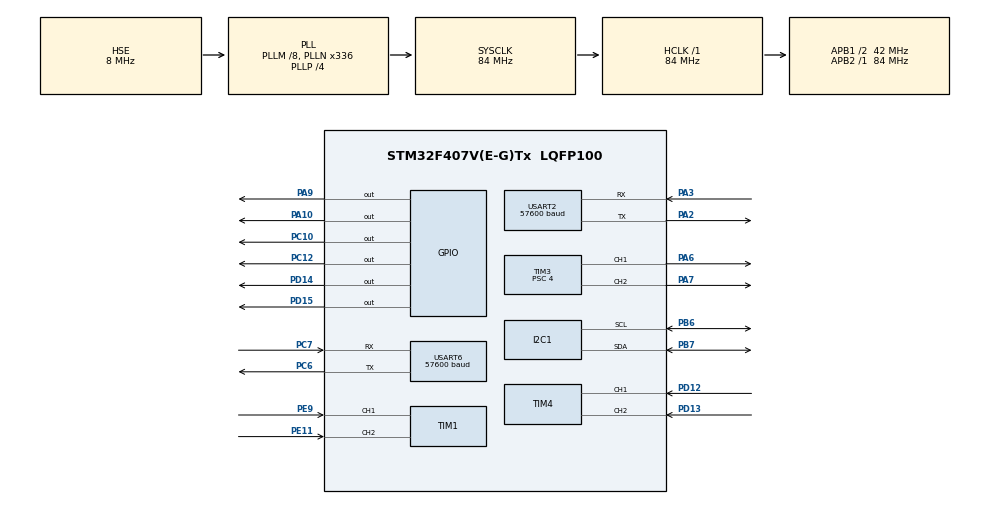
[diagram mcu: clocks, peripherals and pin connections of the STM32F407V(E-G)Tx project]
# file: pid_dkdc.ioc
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Dma.Request0=USART6_RX
Dma.Request1=USART6_TX
Dma.USART6_RX.0.Direction=DMA_PERIPH_TO_MEMORY
Dma.USART6_RX.0.FIFOMode=DMA_FIFOMODE_DISABLE
Dma.USART6_RX.0.Instance=DMA2_Stream1
Dma.USART6_RX.0.MemDataAlignment=DMA_MDATAALIGN_BYTE
Dma.USART6_RX.0.MemInc=DMA_MINC_ENABLE
Dma.USART6_RX.0.Mode=DMA_CIRCULAR
Dma.USART6_RX.0.PeriphDataAlignment=DMA_PDATAALIGN_BYTE
Dma.USART6_RX.0.PeriphInc=DMA_PINC_DISABLE
Dma.USART6_RX.0.Priority=DMA_PRIORITY_LOW
Dma.USART6_TX.1.Direction=DMA_MEMORY_TO_PERIPH
Dma.USART6_TX.1.FIFOMode=DMA_FIFOMODE_DISABLE
Dma.USART6_TX.1.Instance=DMA2_Stream6
Dma.USART6_TX.1.MemDataAlignment=DMA_MDATAALIGN_BYTE
Dma.USART6_TX.1.MemInc=DMA_MINC_ENABLE
Dma.USART6_TX.1.Mode=DMA_NORMAL
Dma.USART6_TX.1.PeriphDataAlignment=DMA_PDATAALIGN_BYTE
Dma.USART6_TX.1.PeriphInc=DMA_PINC_DISABLE
Dma.USART6_TX.1.Priority=DMA_PRIORITY_LOW
I2C1.I2C_Mode=I2C_Fast
Mcu.Family=STM32F4
Mcu.Name=STM32F407V(E-G)Tx
Mcu.Package=LQFP100
NVIC.DMA2_Stream1_IRQn=true\:0\:0\:false\:false\:true\:false\:true\:true
NVIC.DMA2_Stream6_IRQn=true\:0\:0\:false\:false\:true\:false\:true\:true
NVIC.PriorityGroup=NVIC_PRIORITYGROUP_4
NVIC.TIM2_IRQn=true\:1\:0\:true\:false\:true\:true\:true\:true
NVIC.USART6_IRQn=true\:0\:0\:false\:false\:true\:true\:true\:true
PA10.Signal=GPIO_Output
PA13.Mode=Serial_Wire
PA13.Signal=SYS_JTMS-SWDIO
PA14.Mode=Serial_Wire
PA14.Signal=SYS_JTCK-SWCLK
PA2.Mode=Asynchronous
PA2.Signal=USART2_TX
PA3.Mode=Asynchronous
PA3.Signal=USART2_RX
PA6.Signal=S_TIM3_CH1
PA7.Signal=S_TIM3_CH2
PA9.Signal=GPIO_Output
PB6.GPIO_Pu=GPIO_PULLUP
PB6.Mode=I2C
PB6.Signal=I2C1_SCL
PB7.GPIO_Pu=GPIO_PULLUP
PB7.Mode=I2C
PB7.Signal=I2C1_SDA
PC10.Signal=GPIO_Output
PC12.Signal=GPIO_Output
PC6.Mode=Asynchronous
PC6.Signal=USART6_TX
PC7.Mode=Asynchronous
PC7.Signal=USART6_RX
PD12.Signal=S_TIM4_CH1
PD13.Signal=S_TIM4_CH2
PD14.Signal=GPIO_Output
PD15.Signal=GPIO_Output
PE11.Signal=S_TIM1_CH2
PE9.Signal=S_TIM1_CH1
PH0-OSC_IN.Mode=HSE-External-Oscillator
PH0-OSC_IN.Signal=RCC_OSC_IN
PH1-OSC_OUT.Mode=HSE-External-Oscillator
PH1-OSC_OUT.Signal=RCC_OSC_OUT
ProjectManager.HeapSize=0x200
ProjectManager.StackSize=0x400
ProjectManager.TargetToolchain=STM32CubeIDE
RCC.48MHZClocksFreq_Value=84000000
RCC.AHBFreq_Value=84000000
RCC.APB1CLKDivider=RCC_HCLK_DIV2
RCC.APB1Freq_Value=42000000
RCC.APB1TimFreq_Value=84000000
RCC.APB2Freq_Value=84000000
RCC.APB2TimFreq_Value=84000000
RCC.CortexFreq_Value=84000000
RCC.HCLKFreq_Value=84000000
RCC.HSE_VALUE=8000000
RCC.HSI_VALUE=16000000
RCC.LSE_VALUE=32768
RCC.PLLM=8
RCC.PLLN=336
RCC.PLLP=RCC_PLLP_DIV4
RCC.PLLSourceVirtual=RCC_PLLSOURCE_HSE
RCC.SYSCLKFreq_VALUE=84000000
RCC.SYSCLKSource=RCC_SYSCLKSOURCE_PLLCLK
RCC.VCOOutputFreq_Value=336000000
SH.S_TIM1_CH1.0=TIM1_CH1,Encoder_Interface
SH.S_TIM1_CH2.0=TIM1_CH2,Encoder_Interface
SH.S_TIM3_CH1.0=TIM3_CH1,PWM Generation1 CH1
SH.S_TIM3_CH2.0=TIM3_CH2,PWM Generation2 CH2
SH.S_TIM4_CH1.0=TIM4_CH1,Encoder_Interface
SH.S_TIM4_CH2.0=TIM4_CH2,Encoder_Interface
TIM1.EncoderMode=TIM_ENCODERMODE_TI12
TIM2.Period=499
TIM2.Prescaler=8399
TIM3.Channel-PWM\ Generation1\ CH1=TIM_CHANNEL_1
TIM3.Channel-PWM\ Generation2\ CH2=TIM_CHANNEL_2
TIM3.Period=839
TIM3.Prescaler=4
TIM4.EncoderMode=TIM_ENCODERMODE_TI12
USART2.BaudRate=57600
USART2.VirtualMode=VM_ASYNC
USART6.BaudRate=57600
USART6.VirtualMode=VM_ASYNC
VP_TIM2_VS_ClockSourceINT.Mode=Internal
board=custom

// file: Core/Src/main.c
/* USER CODE BEGIN Header */
/**
  ******************************************************************************
  * @file           : main.c
  * @brief          : Main program body
  ******************************************************************************
  * @attention
  *
  * Copyright (c) 2024 STMicroelectronics.
  * All rights reserved.
  *
  * This software is licensed under terms that can be found in the LICENSE file
  * in the root directory of this software component.
  * If no LICENSE file comes with this software, it is provided AS-IS.
  *
  ******************************************************************************
  */
/* USER CODE END Header */
#include "main.h"

/* USER CODE BEGIN Includes */
#include "mainpp.h"
#include "data_struct.h"
#include "imu_data_struct.h"
#include <math.h>
#include "stm32f4xx_hal.h"
#include "defines.h"
#include "tm_stm32_mpu6050.h"
#include <stdio.h>
/* USER CODE END Includes */

/* USER CODE BEGIN PTD */
float   temperature=0;
TM_MPU6050_t MPU6050_Sensor;
TM_MPU6050_t MPU6050_Data0;
char     data[120];

// rotation angle of the sensor
unsigned long last_read_time;
float         last_x_angle;  // These are the filtered angles
float         last_y_angle;
float         last_z_angle;
float         last_gyro_x_angle;  // Store the gyro angles to compare drift
float         last_gyro_y_angle;
float         last_gyro_z_angle;
float         angle_z;

void set_last_read_angle_data(unsigned long time, float x, float y, float z, float x_gyro, float y_gyro, float z_gyro) {
  last_read_time = time;
  last_x_angle = x;
  last_y_angle = y;
  last_z_angle = z;
  last_gyro_x_angle = x_gyro;
  last_gyro_y_angle = y_gyro;
  last_gyro_z_angle = z_gyro;
}

unsigned long get_last_time() {return last_read_time;}
float get_last_x_angle() {return last_x_angle;}
float get_last_y_angle() {return last_y_angle;}
float get_last_z_angle() {return last_z_angle;}
float get_last_gyro_x_angle() {return last_gyro_x_angle;}
float get_last_gyro_y_angle() {return last_gyro_y_angle;}
float get_last_gyro_z_angle() {return last_gyro_z_angle;}

float    base_x_gyro = 0;
float    base_y_gyro = 0;
float    base_z_gyro = 0;
float    base_x_accel = 0;
float    base_y_accel = 0;
float    base_z_accel = 0;

 float gyro_angle_z=0;

 void get_mpudata_average() {

   int read_count = 20;
   // Discard the first reading (don't know if this is needed or
   // not, however, it won't hurt.)
   // Read and average the raw values
   for (int i = 0; i < read_count; i++) {
     TM_MPU6050_ReadAll(&MPU6050_Sensor);
     base_x_gyro += MPU6050_Sensor.Gyroscope_X;
     base_y_gyro += MPU6050_Sensor.Gyroscope_Y;
     base_z_gyro += MPU6050_Sensor.Gyroscope_Z;
     base_x_accel +=  MPU6050_Sensor.Accelerometer_X;
     base_y_accel +=  MPU6050_Sensor.Accelerometer_Y;
     base_z_accel +=  MPU6050_Sensor.Accelerometer_Z;
   }

     base_x_gyro /= read_count;
     base_y_gyro /= read_count;
     base_z_gyro /= read_count;
     base_x_accel /= read_count;
     base_y_accel /= read_count;
     base_z_accel /= read_count;
 }

// This global variable tells us how to scale gyroscope data
float    GYRO_FACTOR=32768.0/250.0;

unsigned long t_now=0,t_last=0;
float dt=0;
/* USER CODE END PTD */

I2C_HandleTypeDef hi2c1;

TIM_HandleTypeDef htim1;
TIM_HandleTypeDef htim2;
TIM_HandleTypeDef htim3;
TIM_HandleTypeDef htim4;

UART_HandleTypeDef huart2;
UART_HandleTypeDef huart6;
DMA_HandleTypeDef hdma_usart6_rx;
DMA_HandleTypeDef hdma_usart6_tx;

void SystemClock_Config(void);
static void MX_GPIO_Init(void);
static void MX_DMA_Init(void);
static void MX_TIM1_Init(void);
static void MX_TIM2_Init(void);
static void MX_TIM3_Init(void);
static void MX_TIM4_Init(void);
static void MX_USART6_UART_Init(void);
static void MX_I2C1_Init(void);
static void MX_USART2_UART_Init(void);
/* USER CODE BEGIN PFP */

//Right
float PPR1 = 998;//=920x4/ 1070;pulse per revolution
const float Ts = 0.05;
float encoder_cnt1=0, pre_enc1=0;
float delta_enc1 = 0;

float vR_motor=0;
float wR_motor=0;
float vR_set=0, vR_real=0;
float v_robot=0;
float w_robot=0;

float duty_cycle1=0, R_duty1=0;
float Error1=0, pre_Error1=0, pre_pre_Error1=0;
float Kp1=50;//0.9, 50
float Ki1=1300;//30, 850
float Kd1=0.025;//0.003
float P_part1=0, I_part1=0, D_part1=0;
float udk1=0, pwm_out1=0, pre_pwm_out1=0,state1 = 0;
const float wheelRadius= 0.072;//0.0725
const float wheelBase=0.46;
const float pi=3.14159265359;
float angle_y;
float angle_x;
float angle_z=0;
const float RADIANS_TO_DEGREES = 180/pi; //180/3.14159
//Left
float PPR2 = 998;//=920x4/ 1070;pulse per revolution

float encoder_cnt2=0, pre_enc2=0;
float delta_enc2 = 0;

float vL_motor=0;
float wL_motor=0;
float  vL_set=0, vL_real=0;

float setSpeed2=0;
float duty_cycle2=0, duty2=0;
float Error2=0, pre_Error2=0, pre_pre_Error2=0;
float Kp2=50;//0.9
float Ki2=1300;//30
float Kd2=0.025;//0.003
float P_part2=0, I_part2=0, D_part2=0;
float udk2=0, pwm_out2=0, pre_pwm_out2=0,state2 = 0;

struct vel_data vel_data_rx;
struct vel_data vel_data_tx;

float current_x, current_y, current_theta=0;
float pre_x=0, pre_y=0, pre_theta=0;
float delta_theta=0;
struct vel_data vel_data_rx;
struct vel_data vel_data_tx;
/* USER CODE END PFP */

int main(void)
{

  /* MCU Configuration--------------------------------------------------------*/

  /* Reset of all peripherals, Initializes the Flash interface and the Systick. */
  HAL_Init();

  /* Configure the system clock */
  SystemClock_Config();

  /* Initialize all configured peripherals */
  MX_GPIO_Init();
  MX_DMA_Init();
  MX_TIM1_Init();
  MX_TIM2_Init();
  MX_TIM3_Init();
  MX_TIM4_Init();
  MX_USART6_UART_Init();
  MX_I2C1_Init();
  MX_USART2_UART_Init();
  /* USER CODE BEGIN 2 */
   HAL_TIM_Base_Start_IT(&htim2);
   HAL_TIM_Encoder_Start(&htim1, TIM_CHANNEL_1|TIM_CHANNEL_2);
   HAL_TIM_Encoder_Start(&htim4, TIM_CHANNEL_1|TIM_CHANNEL_2);
   HAL_TIM_PWM_Start(&htim3, TIM_CHANNEL_1);
   HAL_TIM_PWM_Start(&htim3, TIM_CHANNEL_2);

   setup();
   while(TM_MPU6050_Init(&MPU6050_Sensor, TM_MPU6050_Device_0, TM_MPU6050_Accelerometer_8G, TM_MPU6050_Gyroscope_250s) != TM_MPU6050_Result_Ok)
        	 {

        	 }

           //GYRO_FACTOR = 131.0;
        	 //const float RADIANS_TO_DEGREES = 57.2958; //180/3.14159

        	 get_mpudata_average();

        	 set_last_read_angle_data(0, 0, 0, 0, 0, 0, 0);

     //	HAL_Delay(5000);
  /* USER CODE END 2 */

  /* Infinite loop */
  while (1)
  {

    /* USER CODE BEGIN 3 */
	  //	  HAL_GPIO_WritePin(GPIOA, GPIO_PIN_9, GPIO_PIN_RESET);
	  //	  		HAL_GPIO_WritePin(GPIOA, GPIO_PIN_10, GPIO_PIN_SET);
	  HAL_GPIO_TogglePin(GPIOD, GPIO_PIN_15);
	  	  loop();

	  	  //HAL_Delay(200);

//	  	  		t_last = HAL_GetTick();
//	  	  		/* Read all data from sensor 1 */
//	  	  		TM_MPU6050_ReadAll(&MPU6050_Sensor);
//	  	  		t_now = HAL_GetTick();
//
//	  	  		// Remove offsets and scale gyro data
//	  	  		//        float gyro_x = (MPU6050_Data0.Gyroscope_X - base_x_gyro)/GYRO_FACTOR;
//	  	  		//        float gyro_y = (MPU6050_Data0.Gyroscope_Y - base_y_gyro)/GYRO_FACTOR;
//	  	  		//        float gyro_z = (MPU6050_Data0.Gyroscope_Z - base_z_gyro)/GYRO_FACTOR;
//	  	  		float gyro_x = (MPU6050_Sensor.Gyroscope_X) / GYRO_FACTOR;
//	  	  		float gyro_y = (MPU6050_Sensor.Gyroscope_Y) / GYRO_FACTOR;
//	  	  		float gyro_z = (MPU6050_Sensor.Gyroscope_Z) / GYRO_FACTOR;
//
//	  	  		float accel_x = MPU6050_Sensor.Accelerometer_X; // - base_x_accel;
//	  	  		float accel_y = MPU6050_Sensor.Accelerometer_Y; // - base_y_accel;
//	  	  		float accel_z = MPU6050_Sensor.Accelerometer_Z; // - base_z_accel;
//
//	  	  		float accel_angle_y = atan(
//	  	  				-1 * accel_x / sqrt(pow(accel_y, 2) + pow(accel_z, 2)))
//	  	  				* RADIANS_TO_DEGREES;
//	  	  		float accel_angle_x = atan(
//	  	  				accel_y / sqrt(pow(accel_x, 2) + pow(accel_z, 2)))
//	  	  				* RADIANS_TO_DEGREES;
//	  	  		float accel_angle_z = 0;  //Accelerometer doesn't give z-angle
//
//	  	  		// Compute the (filtered) gyro angles
//	  	  		dt = (t_now - get_last_time()) / 1000.0;
//
//	  	  		float gyro_angle_x = gyro_x * dt + get_last_x_angle();
//	  	  		float gyro_angle_y = gyro_y * dt + get_last_y_angle();
//
//	  	  		int gz_threshold = 2; // gyro z raw data fluctuation threshold value when gyro doesn't move. It is up to your mpu6050. It is just a personal approach.
//	  	  		if (gyro_z < gz_threshold && gyro_z > -gz_threshold) // When gyro stands ignore the gyro z small fluctuations to prevent z angle irregular increments
//	  	  			gyro_z = 0;
//
//	  	  		gyro_angle_z = gyro_z * dt + get_last_z_angle();
//
//	  	  		// Compute the drifting gyro angles
//	  	  		float unfiltered_gyro_angle_x = gyro_x * dt + get_last_gyro_x_angle();
//	  	  		float unfiltered_gyro_angle_y = gyro_y * dt + get_last_gyro_y_angle();
//	  	  		float unfiltered_gyro_angle_z = gyro_z * dt + get_last_gyro_z_angle();
//
//	  	  		// Apply the complementary filter to figure out the change in angle - choice of alpha is
//	  	  		/* estimated now.  Alpha depends on the sampling rate... */
//	  	  		const float alpha = 0.96;
//	  	  		 angle_x = alpha * gyro_angle_x + (1.0 - alpha) * accel_angle_x;
//	  	  		 angle_y = alpha * gyro_angle_y + (1.0 - alpha) * accel_angle_y;
//	  	  		 angle_z = gyro_angle_z;  //Accelerometer doesn't give z-angle
//
//	  	  		/* Update the saved data with the latest values */
//	  	  		set_last_read_angle_data(t_now, angle_x, angle_y, angle_z,
//	  	  				unfiltered_gyro_angle_x, unfiltered_gyro_angle_y,
//	  	  				unfiltered_gyro_angle_z);
//
//	  	  		/* Send the angle values to serial buffer	*/
////	  	  		HAL_UART_Transmit(&huart2, (uint8_t*) data, sprintf(data,
////	  	  						"Angle values\n- X:%3.4f\n- Y:%3.4f\n- Z:%3.4f\nTemperature\n- %3.4f\n\n\n",
////	  	  						angle_x,
////	  	  						angle_y,
////	  	  						angle_z,
////	  	  						MPU6050_Sensor.Temperature),
////	  	  				1000);
//	  	  		imu_data_tx.x=angle_x;
//	  	  		imu_data_tx.y=angle_y;
//	  	  		imu_data_tx.z=angle_z;

  }
  /* USER CODE END 3 */
}

void SystemClock_Config(void)
{
  RCC_OscInitTypeDef RCC_OscInitStruct = {0};
  RCC_ClkInitTypeDef RCC_ClkInitStruct = {0};

  /** Configure the main internal regulator output voltage
  */
  __HAL_RCC_PWR_CLK_ENABLE();
  __HAL_PWR_VOLTAGESCALING_CONFIG(PWR_REGULATOR_VOLTAGE_SCALE1);

  /** Initializes the RCC Oscillators according to the specified parameters
  * in the RCC_OscInitTypeDef structure.
  */
  RCC_OscInitStruct.OscillatorType = RCC_OSCILLATORTYPE_HSE;
  RCC_OscInitStruct.HSEState = RCC_HSE_ON;
  RCC_OscInitStruct.PLL.PLLState = RCC_PLL_ON;
  RCC_OscInitStruct.PLL.PLLSource = RCC_PLLSOURCE_HSE;
  RCC_OscInitStruct.PLL.PLLM = 8;
  RCC_OscInitStruct.PLL.PLLN = 336;
  RCC_OscInitStruct.PLL.PLLP = RCC_PLLP_DIV4;
  RCC_OscInitStruct.PLL.PLLQ = 4;
  if (HAL_RCC_OscConfig(&RCC_OscInitStruct) != HAL_OK)
  {
    Error_Handler();
  }

  /** Initializes the CPU, AHB and APB buses clocks
  */
  RCC_ClkInitStruct.ClockType = RCC_CLOCKTYPE_HCLK|RCC_CLOCKTYPE_SYSCLK
                              |RCC_CLOCKTYPE_PCLK1|RCC_CLOCKTYPE_PCLK2;
  RCC_ClkInitStruct.SYSCLKSource = RCC_SYSCLKSOURCE_PLLCLK;
  RCC_ClkInitStruct.AHBCLKDivider = RCC_SYSCLK_DIV1;
  RCC_ClkInitStruct.APB1CLKDivider = RCC_HCLK_DIV2;
  RCC_ClkInitStruct.APB2CLKDivider = RCC_HCLK_DIV1;

  if (HAL_RCC_ClockConfig(&RCC_ClkInitStruct, FLASH_LATENCY_2) != HAL_OK)
  {
    Error_Handler();
  }
}

static void MX_I2C1_Init(void)
{

  hi2c1.Instance = I2C1;
  hi2c1.Init.ClockSpeed = 400000;
  hi2c1.Init.DutyCycle = I2C_DUTYCYCLE_2;
  hi2c1.Init.OwnAddress1 = 0;
  hi2c1.Init.AddressingMode = I2C_ADDRESSINGMODE_7BIT;
  hi2c1.Init.DualAddressMode = I2C_DUALADDRESS_DISABLE;
  hi2c1.Init.OwnAddress2 = 0;
  hi2c1.Init.GeneralCallMode = I2C_GENERALCALL_DISABLE;
  hi2c1.Init.NoStretchMode = I2C_NOSTRETCH_DISABLE;
  if (HAL_I2C_Init(&hi2c1) != HAL_OK)
  {
    Error_Handler();
  }

}

static void MX_TIM1_Init(void)
{

  TIM_Encoder_InitTypeDef sConfig = {0};
  TIM_MasterConfigTypeDef sMasterConfig = {0};

  htim1.Instance = TIM1;
  htim1.Init.Prescaler = 0;
  htim1.Init.CounterMode = TIM_COUNTERMODE_UP;
  htim1.Init.Period = 65535;
  htim1.Init.ClockDivision = TIM_CLOCKDIVISION_DIV1;
  htim1.Init.RepetitionCounter = 0;
  htim1.Init.AutoReloadPreload = TIM_AUTORELOAD_PRELOAD_DISABLE;
  sConfig.EncoderMode = TIM_ENCODERMODE_TI12;
  sConfig.IC1Polarity = TIM_ICPOLARITY_RISING;
  sConfig.IC1Selection = TIM_ICSELECTION_DIRECTTI;
  sConfig.IC1Prescaler = TIM_ICPSC_DIV1;
  sConfig.IC1Filter = 0;
  sConfig.IC2Polarity = TIM_ICPOLARITY_RISING;
  sConfig.IC2Selection = TIM_ICSELECTION_DIRECTTI;
  sConfig.IC2Prescaler = TIM_ICPSC_DIV1;
  sConfig.IC2Filter = 0;
  if (HAL_TIM_Encoder_Init(&htim1, &sConfig) != HAL_OK)
  {
    Error_Handler();
  }
  sMasterConfig.MasterOutputTrigger = TIM_TRGO_RESET;
  sMasterConfig.MasterSlaveMode = TIM_MASTERSLAVEMODE_DISABLE;
  if (HAL_TIMEx_MasterConfigSynchronization(&htim1, &sMasterConfig) != HAL_OK)
  {
    Error_Handler();
  }

}

static void MX_TIM2_Init(void)
{

  TIM_ClockConfigTypeDef sClockSourceConfig = {0};
  TIM_MasterConfigTypeDef sMasterConfig = {0};

  htim2.Instance = TIM2;
  htim2.Init.Prescaler = 8399;
  htim2.Init.CounterMode = TIM_COUNTERMODE_UP;
  htim2.Init.Period = 499;
  htim2.Init.ClockDivision = TIM_CLOCKDIVISION_DIV1;
  htim2.Init.AutoReloadPreload = TIM_AUTORELOAD_PRELOAD_DISABLE;
  if (HAL_TIM_Base_Init(&htim2) != HAL_OK)
  {
    Error_Handler();
  }
  sClockSourceConfig.ClockSource = TIM_CLOCKSOURCE_INTERNAL;
  if (HAL_TIM_ConfigClockSource(&htim2, &sClockSourceConfig) != HAL_OK)
  {
    Error_Handler();
  }
  sMasterConfig.MasterOutputTrigger = TIM_TRGO_RESET;
  sMasterConfig.MasterSlaveMode = TIM_MASTERSLAVEMODE_DISABLE;
  if (HAL_TIMEx_MasterConfigSynchronization(&htim2, &sMasterConfig) != HAL_OK)
  {
    Error_Handler();
  }

}

static void MX_TIM3_Init(void)
{

  TIM_MasterConfigTypeDef sMasterConfig = {0};
  TIM_OC_InitTypeDef sConfigOC = {0};

  htim3.Instance = TIM3;
  htim3.Init.Prescaler = 4;
  htim3.Init.CounterMode = TIM_COUNTERMODE_UP;
  htim3.Init.Period = 839;
  htim3.Init.ClockDivision = TIM_CLOCKDIVISION_DIV1;
  htim3.Init.AutoReloadPreload = TIM_AUTORELOAD_PRELOAD_DISABLE;
  if (HAL_TIM_PWM_Init(&htim3) != HAL_OK)
  {
    Error_Handler();
  }
  sMasterConfig.MasterOutputTrigger = TIM_TRGO_RESET;
  sMasterConfig.MasterSlaveMode = TIM_MASTERSLAVEMODE_DISABLE;
  if (HAL_TIMEx_MasterConfigSynchronization(&htim3, &sMasterConfig) != HAL_OK)
  {
    Error_Handler();
  }
  sConfigOC.OCMode = TIM_OCMODE_PWM1;
  sConfigOC.Pulse = 0;
  sConfigOC.OCPolarity = TIM_OCPOLARITY_HIGH;
  sConfigOC.OCFastMode = TIM_OCFAST_DISABLE;
  if (HAL_TIM_PWM_ConfigChannel(&htim3, &sConfigOC, TIM_CHANNEL_1) != HAL_OK)
  {
    Error_Handler();
  }
  if (HAL_TIM_PWM_ConfigChannel(&htim3, &sConfigOC, TIM_CHANNEL_2) != HAL_OK)
  {
    Error_Handler();
  }
  HAL_TIM_MspPostInit(&htim3);

}

static void MX_TIM4_Init(void)
{

  TIM_Encoder_InitTypeDef sConfig = {0};
  TIM_MasterConfigTypeDef sMasterConfig = {0};

  htim4.Instance = TIM4;
  htim4.Init.Prescaler = 0;
  htim4.Init.CounterMode = TIM_COUNTERMODE_UP;
  htim4.Init.Period = 65535;
  htim4.Init.ClockDivision = TIM_CLOCKDIVISION_DIV1;
  htim4.Init.AutoReloadPreload = TIM_AUTORELOAD_PRELOAD_DISABLE;
  sConfig.EncoderMode = TIM_ENCODERMODE_TI12;
  sConfig.IC1Polarity = TIM_ICPOLARITY_RISING;
  sConfig.IC1Selection = TIM_ICSELECTION_DIRECTTI;
  sConfig.IC1Prescaler = TIM_ICPSC_DIV1;
  sConfig.IC1Filter = 0;
  sConfig.IC2Polarity = TIM_ICPOLARITY_RISING;
  sConfig.IC2Selection = TIM_ICSELECTION_DIRECTTI;
  sConfig.IC2Prescaler = TIM_ICPSC_DIV1;
  sConfig.IC2Filter = 0;
  if (HAL_TIM_Encoder_Init(&htim4, &sConfig) != HAL_OK)
  {
    Error_Handler();
  }
  sMasterConfig.MasterOutputTrigger = TIM_TRGO_RESET;
  sMasterConfig.MasterSlaveMode = TIM_MASTERSLAVEMODE_DISABLE;
  if (HAL_TIMEx_MasterConfigSynchronization(&htim4, &sMasterConfig) != HAL_OK)
  {
    Error_Handler();
  }

}

static void MX_USART2_UART_Init(void)
{

  huart2.Instance = USART2;
  huart2.Init.BaudRate = 115200;
  huart2.Init.WordLength = UART_WORDLENGTH_8B;
  huart2.Init.StopBits = UART_STOPBITS_1;
  huart2.Init.Parity = UART_PARITY_NONE;
  huart2.Init.Mode = UART_MODE_TX_RX;
  huart2.Init.HwFlowCtl = UART_HWCONTROL_NONE;
  huart2.Init.OverSampling = UART_OVERSAMPLING_16;
  if (HAL_UART_Init(&huart2) != HAL_OK)
  {
    Error_Handler();
  }

}

static void MX_USART6_UART_Init(void)
{

  huart6.Instance = USART6;
  huart6.Init.BaudRate = 115200;
  huart6.Init.WordLength = UART_WORDLENGTH_8B;
  huart6.Init.StopBits = UART_STOPBITS_1;
  huart6.Init.Parity = UART_PARITY_NONE;
  huart6.Init.Mode = UART_MODE_TX_RX;
  huart6.Init.HwFlowCtl = UART_HWCONTROL_NONE;
  huart6.Init.OverSampling = UART_OVERSAMPLING_16;
  if (HAL_UART_Init(&huart6) != HAL_OK)
  {
    Error_Handler();
  }

}

static void MX_DMA_Init(void)
{

  /* DMA controller clock enable */
  __HAL_RCC_DMA2_CLK_ENABLE();

  /* DMA interrupt init */
  /* DMA2_Stream1_IRQn interrupt configuration */
  HAL_NVIC_SetPriority(DMA2_Stream1_IRQn, 0, 0);
  HAL_NVIC_EnableIRQ(DMA2_Stream1_IRQn);
  /* DMA2_Stream6_IRQn interrupt configuration */
  HAL_NVIC_SetPriority(DMA2_Stream6_IRQn, 0, 0);
  HAL_NVIC_EnableIRQ(DMA2_Stream6_IRQn);

}

static void MX_GPIO_Init(void)
{
  GPIO_InitTypeDef GPIO_InitStruct = {0};

  /* GPIO Ports Clock Enable */
  __HAL_RCC_GPIOH_CLK_ENABLE();
  __HAL_RCC_GPIOA_CLK_ENABLE();
  __HAL_RCC_GPIOE_CLK_ENABLE();
  __HAL_RCC_GPIOD_CLK_ENABLE();
  __HAL_RCC_GPIOC_CLK_ENABLE();
  __HAL_RCC_GPIOB_CLK_ENABLE();

  /*Configure GPIO pin Output Level */
  HAL_GPIO_WritePin(GPIOD, GPIO_PIN_14, GPIO_PIN_RESET);

  /*Configure GPIO pin Output Level */
  HAL_GPIO_WritePin(GPIOA, GPIO_PIN_9|GPIO_PIN_10, GPIO_PIN_RESET);

  /*Configure GPIO pin Output Level */
  HAL_GPIO_WritePin(GPIOC, GPIO_PIN_10|GPIO_PIN_12, GPIO_PIN_RESET);

  /*Configure GPIO pin : PD14 */
  GPIO_InitStruct.Pin = GPIO_PIN_14;
  GPIO_InitStruct.Mode = GPIO_MODE_OUTPUT_PP;
  GPIO_InitStruct.Pull = GPIO_NOPULL;
  GPIO_InitStruct.Speed = GPIO_SPEED_FREQ_LOW;
  HAL_GPIO_Init(GPIOD, &GPIO_InitStruct);

  /*Configure GPIO pins : PA9 PA10 */
  GPIO_InitStruct.Pin = GPIO_PIN_9|GPIO_PIN_10;
  GPIO_InitStruct.Mode = GPIO_MODE_OUTPUT_PP;
  GPIO_InitStruct.Pull = GPIO_NOPULL;
  GPIO_InitStruct.Speed = GPIO_SPEED_FREQ_LOW;
  HAL_GPIO_Init(GPIOA, &GPIO_InitStruct);

  /*Configure GPIO pins : PC10 PC12 */
  GPIO_InitStruct.Pin = GPIO_PIN_10|GPIO_PIN_12;
  GPIO_InitStruct.Mode = GPIO_MODE_OUTPUT_PP;
  GPIO_InitStruct.Pull = GPIO_NOPULL;
  GPIO_InitStruct.Speed = GPIO_SPEED_FREQ_LOW;
  HAL_GPIO_Init(GPIOC, &GPIO_InitStruct);

}

/* USER CODE BEGIN 4 */

void PID_Calculate1(){
			//realSpeed=(float)Encoder_GetSpeed()/Ts/1080;

			 //delta_enc=Encoder_GetSpeed();

				encoder_cnt1=__HAL_TIM_GET_COUNTER(&htim1);
				delta_enc1=encoder_cnt1-pre_enc1;

					//p=(int32_t)TIM1->CNT;

				if(delta_enc1>32768){
					delta_enc1 -= 65536;
				}
				else if(delta_enc1<-32768){
					delta_enc1 += 65536;
				}

				 vL_real=((delta_enc1/PPR1)/Ts)*(2*pi*wheelRadius);
				 pre_enc1=encoder_cnt1;

				 Error1=vL_set-vL_real;
				 if(Kp1!=0||Ki1!=0||Kd1!=0){

					 P_part1 =Kp1*(Error1-pre_Error1 );
					// P_part2 =Kp2*(Error2-pre1_Error2 );

					 I_part1 = 0.5*Ki1*Ts*(Error1 + pre_Error1);
					// I_part2 = 0.5*Ki2*Ts*(Error2 + pre1_Error2);

					 D_part1 = Kd1/Ts*( Error1 - 2*pre_Error1+ pre_pre_Error1);
					 //D_part2 = Kd2/Ts*( Error2 - 2*pre1_Error2+ pre2_Error2);

					 udk1 = pre_pwm_out1 + P_part1 + I_part1 + D_part1 ;
					 //udk2 = pre_pwm_out2 + P_part2 + I_part2 + D_part2 ;

								 //HAL_Delay(0.5);
								 //pwm_out=udk;
								 pre_pre_Error1 = pre_Error1;
								 //pre2_Error2 = pre1_Error2;

								 pre_Error1 = Error1;
								// pre1_Error2 = Error2;

								 pre_pwm_out1 = udk1;
								// pre_pwm_out2 = udk2;
				 }
		}

void PID_Calculate2(){

				encoder_cnt2=__HAL_TIM_GET_COUNTER(&htim4);

				 delta_enc2=encoder_cnt2-pre_enc2;

					//p=(int32_t)TIM1->CNT;

				if(delta_enc2>32768){
					delta_enc2 -= 65536;
				}
				else if(delta_enc2<-32768){
					delta_enc2 += 65536;
				}

				vR_real=((delta_enc2/PPR2)/Ts)*(2*pi*wheelRadius);
				pre_enc2=encoder_cnt2;

				Error2=vR_set-vR_real;

			 if(Kp2!=0||Ki2!=0||Kd2!=0){

				 P_part2 =Kp2*(Error2-pre_Error2 );

				 I_part2 = 0.5*Ki2*Ts*(Error2 + pre_Error2);

				 D_part2 = Kd2/Ts*( Error2 - 2*pre_Error2+ pre_pre_Error2);

				 udk2 = pre_pwm_out2 + P_part2 + I_part2 + D_part2 ;

				 pre_pre_Error2 = pre_Error2;

				 pre_Error2 = Error2;

				 pre_pwm_out2 = udk2;
			 }

	}

	void PWM_Calculate1()
		{
			if(udk1>1000){
				udk1=50;

			}
			else if (udk1<-1000){
				udk1=-50;

			}

			if(udk1==0){
				HAL_GPIO_WritePin(GPIOA, GPIO_PIN_9, GPIO_PIN_RESET);
				HAL_GPIO_WritePin(GPIOA,  GPIO_PIN_10, GPIO_PIN_RESET);

			}
			else if(udk1>0){
				HAL_GPIO_WritePin(GPIOA, GPIO_PIN_9, GPIO_PIN_RESET);
				HAL_GPIO_WritePin(GPIOA,  GPIO_PIN_10, GPIO_PIN_SET);

				duty_cycle1=udk1;

			}

			else{
				HAL_GPIO_WritePin(GPIOA, GPIO_PIN_9, GPIO_PIN_SET);
				HAL_GPIO_WritePin(GPIOA,  GPIO_PIN_10, GPIO_PIN_RESET);

				duty_cycle1=-udk1;
				//duty_cycle2=-udk2;
			}
	//		duty_cycle=(TIM3->ARR + 1)*duty_cycle/100;
	//		TIM3->CCR1 = (uint32_t)duty_cycle;
			__HAL_TIM_SET_COMPARE(&htim3,TIM_CHANNEL_1,duty_cycle1);
	//		__HAL_TIM_SET_COMPARE(&htim3,TIM_CHANNEL_2,duty_cycle2);
		}

	void PWM_Calculate2()
			{

				if(udk2>1000){

					udk2=50;
				}
				else if (udk2<-1000){

					udk2=-50;
				}

				if(udk2==0){

					HAL_GPIO_WritePin(GPIOC, GPIO_PIN_10, GPIO_PIN_RESET);
					HAL_GPIO_WritePin(GPIOC,  GPIO_PIN_12, GPIO_PIN_RESET);
							}
				else if(udk2>0){

					HAL_GPIO_WritePin(GPIOC, GPIO_PIN_10, GPIO_PIN_RESET);
					HAL_GPIO_WritePin(GPIOC,  GPIO_PIN_12, GPIO_PIN_SET);

					duty_cycle2=udk2;

						}
				else{

					HAL_GPIO_WritePin(GPIOC, GPIO_PIN_10, GPIO_PIN_SET);
					HAL_GPIO_WritePin(GPIOC,  GPIO_PIN_12, GPIO_PIN_RESET);

					duty_cycle2=-udk2;
				}

				__HAL_TIM_SET_COMPARE(&htim3,TIM_CHANNEL_2,duty_cycle2);
			}

void read_imu(){

	t_last = HAL_GetTick();
				  		/* Read all data from sensor 1 */
				  	TM_MPU6050_ReadAll(&MPU6050_Sensor);
				      //TM_MPU6050_ReadAccelerometer(&MPU6050_Sensor);
				      //TM_MPU6050_ReadGyroscope(&MPU6050_Sensor);
				  		t_now = HAL_GetTick();

				  		// Remove offsets and scale gyro data
				          float gyro_x = (MPU6050_Sensor.Gyroscope_X - base_x_gyro)/GYRO_FACTOR;
				          float gyro_y = (MPU6050_Sensor.Gyroscope_Y - base_y_gyro)/GYRO_FACTOR;
				          float gyro_z = (MPU6050_Sensor.Gyroscope_Z - base_z_gyro)/GYRO_FACTOR;
			//	  		    float gyro_x = (MPU6050_Sensor.Gyroscope_X)/GYRO_FACTOR;
			//	          float gyro_y = (MPU6050_Sensor.Gyroscope_Y)/GYRO_FACTOR;
			//	          float gyro_z = (MPU6050_Sensor.Gyroscope_Z)/GYRO_FACTOR;

				          float accel_x = MPU6050_Sensor.Accelerometer_X  - base_x_accel;
				          float accel_y = MPU6050_Sensor.Accelerometer_Y  - base_y_accel;
				          float accel_z = MPU6050_Sensor.Accelerometer_Z  - base_z_accel;

				          float accel_angle_y = atan(-1*accel_x/sqrt(pow(accel_y,2) + pow(accel_z,2)))*RADIANS_TO_DEGREES;
				          float accel_angle_x = atan(accel_y/sqrt(pow(accel_x,2) + pow(accel_z,2)))*RADIANS_TO_DEGREES;
				          float accel_angle_z = 0;  //Accelerometer doesn't give z-angle

				          // Compute the (filtered) gyro angles
				          dt =(t_now - get_last_time())/1000.0;

				          float gyro_angle_x = gyro_x*dt + get_last_x_angle();
				          float gyro_angle_y = gyro_y*dt + get_last_y_angle();

				  				int gz_threshold = 2; // gyro z raw data fluctuation threshold value when gyro doesn't move. It is up to your mpu6050. It is just a personal approach.
				  				if(gyro_z < gz_threshold && gyro_z > -gz_threshold) // When gyro stands ignore the gyro z small fluctuations to prevent z angle irregular increments
				  					 gyro_z = 0;

				             gyro_angle_z = gyro_z*dt + get_last_z_angle();

				          // Compute the drifting gyro angles
				          float unfiltered_gyro_angle_x = gyro_x*dt + get_last_gyro_x_angle();
				          float unfiltered_gyro_angle_y = gyro_y*dt + get_last_gyro_y_angle();
				          float unfiltered_gyro_angle_z = gyro_z*dt + get_last_gyro_z_angle();

				          // Apply the complementary filter to figure out the change in angle - choice of alpha is
				          /* estimated now.  Alpha depends on the sampling rate... */
				          const float alpha = 0.96;
				          float angle_x = alpha*gyro_angle_x + (1.0 - alpha)*accel_angle_x;
				          float angle_y = alpha*gyro_angle_y + (1.0 - alpha)*accel_angle_y;
				          angle_z = gyro_angle_z;  //Accelerometer doesn't give z-angle

				  		    /* Update the saved data with the latest values */
				          set_last_read_angle_data(t_now, angle_x, angle_y, angle_z, unfiltered_gyro_angle_x, unfiltered_gyro_angle_y, unfiltered_gyro_angle_z);

}
	void HAL_TIM_PeriodElapsedCallback(TIM_HandleTypeDef *htim){
		if(htim->Instance==htim2.Instance){
			  //setSpeed= vel_data_rx.v;
			HAL_GPIO_TogglePin(GPIOD, GPIO_PIN_14);

//			vR_set=vel_data_rx.v + vel_data_rx.w*wheelBase/2;//dong hoc nguoc
//			vL_set=vel_data_rx.v - vel_data_rx.w*wheelBase/2;

			PID_Calculate1();
			PWM_Calculate1();
			PID_Calculate2();
			PWM_Calculate2();

//			vel_data_tx.v=(vR_real+vL_real)/2;  //dong hoc nguoc
//			vel_data_tx.w=(vR_real-vL_real)/wheelBase;
			read_imu();
			imu_data_tx.z=angle_z;

			}

	}
/* USER CODE END 4 */

void Error_Handler(void)
{
  __disable_irq();
  while (1)
  {
  }
}
